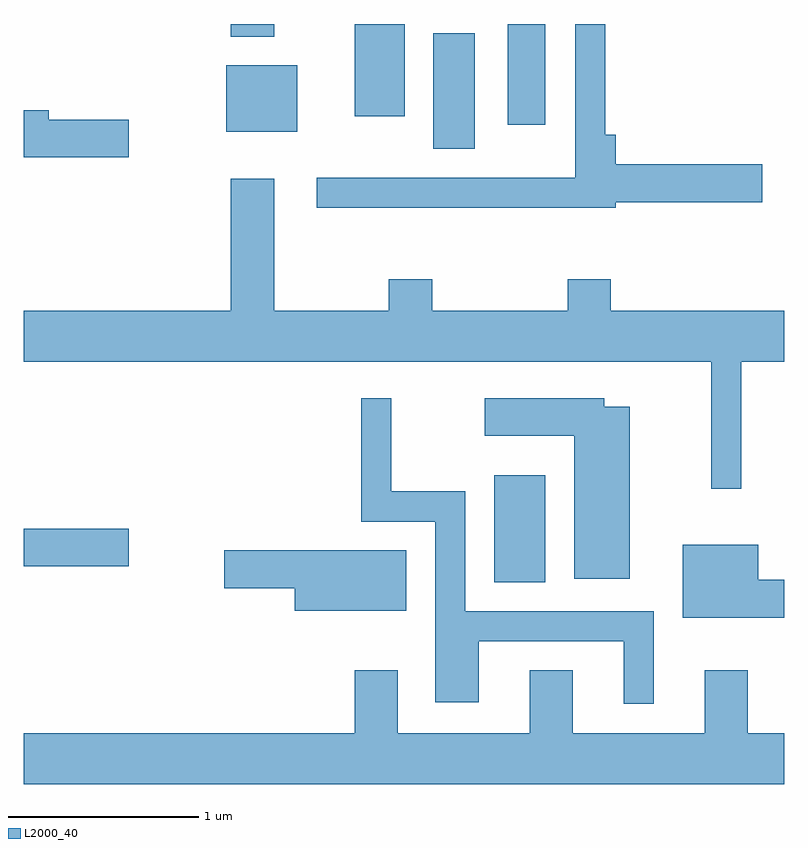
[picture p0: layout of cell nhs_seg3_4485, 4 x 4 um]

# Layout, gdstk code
import gdstk
lib = gdstk.Library(unit=1e-6, precision=1e-09)
def R(c, l, rs):  # rectangles x0, y0, x1, y1
    for r in rs: c.add(gdstk.rectangle(r[:2], r[2:], *l))
def P(c, l, *ps):  # polygons
    for p in ps: c.add(gdstk.Polygon(p, *l))
L2000_40 = (2000, 40)

nhs_seg3_4485 = lib.new_cell('nhs_seg3_4485')
R(nhs_seg3_4485, L2000_40, [(318.086,1246.956,318.354,1247.519), (315.611,1247.041,316.164,1247.239), (317.766,1249.236,317.984,1249.844), (316.676,1249.326,317.049,1249.674), (318.156,1249.361,318.354,1249.892), (317.351,1249.406,317.614,1249.892), (316.701,1249.826,316.929,1249.892)])
P(nhs_seg3_4485, L2000_40, [(318.724,1248.956),(319.494,1248.956),(319.494,1249.154),(318.724,1249.154),(318.724,1249.309),(318.669,1249.309),(318.669,1249.892),(318.511,1249.892),(318.511,1249.084),(317.153,1249.084),(317.153,1248.926),(318.724,1248.926)],
  [(316.164,1249.389),(315.744,1249.389),(315.744,1249.439),(315.611,1249.439),(315.611,1249.191),(316.164,1249.191)],
  [(319.384,1248.116),(319.611,1248.116),(319.611,1248.384),(318.699,1248.384),(318.699,1248.549),(318.471,1248.549),(318.471,1248.384),(317.759,1248.384),(317.759,1248.549),(317.531,1248.549),(317.531,1248.384),(316.929,1248.384),(316.929,1249.079),(316.701,1249.079),(316.701,1248.384),(315.611,1248.384),(315.611,1248.116),(319.226,1248.116),(319.226,1247.448),(319.384,1247.448)],
  [(318.799,1247.879),(318.664,1247.879),(318.664,1247.924),(318.036,1247.924),(318.036,1247.726),(318.506,1247.726),(318.506,1246.976),(318.799,1246.976)],
  [(318.924,1246.804),(317.934,1246.804),(317.934,1247.434),(317.544,1247.434),(317.544,1247.923),(317.386,1247.923),(317.386,1247.276),(317.776,1247.276),(317.776,1246.326),(318.004,1246.326),(318.004,1246.646),(318.766,1246.646),(318.766,1246.318),(318.924,1246.318)],
  [(319.611,1246.969),(319.474,1246.969),(319.474,1247.154),(319.076,1247.154),(319.076,1246.771),(319.611,1246.771)],
  [(317.624,1247.124),(316.666,1247.124),(316.666,1246.926),(317.036,1246.926),(317.036,1246.806),(317.624,1246.806)],
  [(319.611,1246.164),(319.419,1246.164),(319.419,1246.494),(319.191,1246.494),(319.191,1246.164),(318.499,1246.164),(318.499,1246.494),(318.271,1246.494),(318.271,1246.164),(317.579,1246.164),(317.579,1246.494),(317.351,1246.494),(317.351,1246.164),(315.611,1246.164),(315.611,1245.896),(319.611,1245.896)])

lib.write_gds('nhs_seg3_4485.gds')
